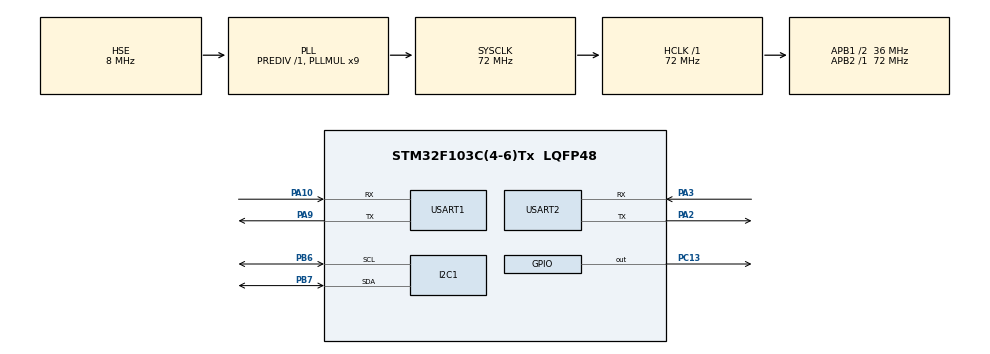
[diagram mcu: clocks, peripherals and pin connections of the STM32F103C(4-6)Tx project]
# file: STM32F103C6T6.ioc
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Dma.Request0=USART1_RX
Dma.Request1=USART1_TX
Dma.Request2=USART2_RX
Dma.Request3=USART2_TX
Dma.USART1_RX.0.Direction=DMA_PERIPH_TO_MEMORY
Dma.USART1_RX.0.Instance=DMA1_Channel5
Dma.USART1_RX.0.MemDataAlignment=DMA_MDATAALIGN_BYTE
Dma.USART1_RX.0.MemInc=DMA_MINC_ENABLE
Dma.USART1_RX.0.Mode=DMA_NORMAL
Dma.USART1_RX.0.PeriphDataAlignment=DMA_PDATAALIGN_BYTE
Dma.USART1_RX.0.PeriphInc=DMA_PINC_DISABLE
Dma.USART1_RX.0.Priority=DMA_PRIORITY_LOW
Dma.USART1_TX.1.Direction=DMA_MEMORY_TO_PERIPH
Dma.USART1_TX.1.Instance=DMA1_Channel4
Dma.USART1_TX.1.MemDataAlignment=DMA_MDATAALIGN_BYTE
Dma.USART1_TX.1.MemInc=DMA_MINC_ENABLE
Dma.USART1_TX.1.Mode=DMA_NORMAL
Dma.USART1_TX.1.PeriphDataAlignment=DMA_PDATAALIGN_BYTE
Dma.USART1_TX.1.PeriphInc=DMA_PINC_DISABLE
Dma.USART1_TX.1.Priority=DMA_PRIORITY_LOW
Dma.USART2_RX.2.Direction=DMA_PERIPH_TO_MEMORY
Dma.USART2_RX.2.Instance=DMA1_Channel6
Dma.USART2_RX.2.MemDataAlignment=DMA_MDATAALIGN_BYTE
Dma.USART2_RX.2.MemInc=DMA_MINC_ENABLE
Dma.USART2_RX.2.Mode=DMA_NORMAL
Dma.USART2_RX.2.PeriphDataAlignment=DMA_PDATAALIGN_BYTE
Dma.USART2_RX.2.PeriphInc=DMA_PINC_DISABLE
Dma.USART2_RX.2.Priority=DMA_PRIORITY_LOW
Dma.USART2_TX.3.Direction=DMA_MEMORY_TO_PERIPH
Dma.USART2_TX.3.Instance=DMA1_Channel7
Dma.USART2_TX.3.MemDataAlignment=DMA_MDATAALIGN_BYTE
Dma.USART2_TX.3.MemInc=DMA_MINC_ENABLE
Dma.USART2_TX.3.Mode=DMA_NORMAL
Dma.USART2_TX.3.PeriphDataAlignment=DMA_PDATAALIGN_BYTE
Dma.USART2_TX.3.PeriphInc=DMA_PINC_DISABLE
Dma.USART2_TX.3.Priority=DMA_PRIORITY_LOW
Mcu.Family=STM32F1
Mcu.Name=STM32F103C(4-6)Tx
Mcu.Package=LQFP48
NVIC.DMA1_Channel4_IRQn=true\:0\:0\:false\:false\:true\:false\:true\:true
NVIC.DMA1_Channel5_IRQn=true\:0\:0\:false\:false\:true\:false\:true\:true
NVIC.DMA1_Channel6_IRQn=true\:0\:0\:false\:false\:true\:false\:true\:true
NVIC.DMA1_Channel7_IRQn=true\:0\:0\:false\:false\:true\:false\:true\:true
NVIC.PriorityGroup=NVIC_PRIORITYGROUP_4
NVIC.USART1_IRQn=true\:0\:0\:false\:false\:true\:true\:true\:true
NVIC.USART2_IRQn=true\:0\:0\:false\:false\:true\:true\:true\:true
PA10.Mode=Asynchronous
PA10.Signal=USART1_RX
PA13.Mode=Serial_Wire
PA13.Signal=SYS_JTMS-SWDIO
PA14.Mode=Serial_Wire
PA14.Signal=SYS_JTCK-SWCLK
PA2.Mode=Asynchronous
PA2.Signal=USART2_TX
PA3.Mode=Asynchronous
PA3.Signal=USART2_RX
PA9.Mode=Asynchronous
PA9.Signal=USART1_TX
PB6.Mode=I2C
PB6.Signal=I2C1_SCL
PB7.Mode=I2C
PB7.Signal=I2C1_SDA
PC13-TAMPER-RTC.Signal=GPIO_Output
PD0-OSC_IN.Mode=HSE-External-Oscillator
PD0-OSC_IN.Signal=RCC_OSC_IN
PD1-OSC_OUT.Mode=HSE-External-Oscillator
PD1-OSC_OUT.Signal=RCC_OSC_OUT
ProjectManager.HeapSize=0x200
ProjectManager.StackSize=0x400
ProjectManager.TargetToolchain=MDK-ARM V5.32
RCC.AHBFreq_Value=72000000
RCC.APB1CLKDivider=RCC_HCLK_DIV2
RCC.APB1Freq_Value=36000000
RCC.APB1TimFreq_Value=72000000
RCC.APB2Freq_Value=72000000
RCC.APB2TimFreq_Value=72000000
RCC.HCLKFreq_Value=72000000
RCC.PLLMUL=RCC_PLL_MUL9
RCC.PLLSourceVirtual=RCC_PLLSOURCE_HSE
RCC.SYSCLKFreq_VALUE=72000000
RCC.SYSCLKSource=RCC_SYSCLKSOURCE_PLLCLK
RCC.USBFreq_Value=72000000
USART1.VirtualMode=VM_ASYNC
USART2.VirtualMode=VM_ASYNC
board=custom

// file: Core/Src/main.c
/* USER CODE BEGIN Header */
/**
  ******************************************************************************
  * @file           : main.c
  * @brief          : Main program body
  ******************************************************************************
  * @attention
  *
  * Copyright (c) 2024 STMicroelectronics.
  * All rights reserved.
  *
  * This software is licensed under terms that can be found in the LICENSE file
  * in the root directory of this software component.
  * If no LICENSE file comes with this software, it is provided AS-IS.
  *
  ******************************************************************************
  */
/* USER CODE END Header */
#include "main.h"
#include "dma.h"
#include "i2c.h"
#include "usart.h"
#include "gpio.h"

/* USER CODE BEGIN Includes */

#include "oled.h"
#include "stdio.h"
#include "string.h"

/* USER CODE END Includes */

void SystemClock_Config(void);

/* USER CODE BEGIN 0 */

uint64_t runtime;
char txbuff[10];
char rxbuff[20],flag=0;
char txlen=0,*txptr;
char rxlen=0,*rxptr;

char temp=43,humi=45,tutemp=34,hl=30;
char led1=1,pump1=1,hdift1=1,fan1=1,dpin1=1;

void putss(UART_HandleTypeDef huart, char ch[])
{
	txlen=strlen(ch);
	txptr=ch;
	HAL_UART_Transmit_DMA(&huart,(uint8_t *)txptr,txlen);
}

void getss(UART_HandleTypeDef huart, char ch[],unsigned char len)
{
	rxlen=len;
	rxptr=ch;
	HAL_UART_Receive_DMA(&huart,(uint8_t *)rxptr,rxlen);
}

void HAL_UART_RxCpltCallback(UART_HandleTypeDef *huart)
{
	if(huart->Instance==USART1)
	{
		flag=0x55;
	}
	if(huart->Instance==USART2)
	{
		flag=0x66;
	}
}

/* USER CODE END 0 */

int main(void)
{
  /* USER CODE BEGIN 1 */
	unsigned char i = 0;

  /* USER CODE END 1 */

  /* MCU Configuration--------------------------------------------------------*/

  /* Reset of all peripherals, Initializes the Flash interface and the Systick. */
  HAL_Init();

  /* Configure the system clock */
  SystemClock_Config();

  /* Initialize all configured peripherals */
  MX_GPIO_Init();
  MX_DMA_Init();
  MX_I2C1_Init();
  MX_USART1_UART_Init();
  MX_USART2_UART_Init();
  /* USER CODE BEGIN 2 */
	char s[]="hello,world3.\n\r";

	putss(huart2,s);
	putss(huart2,s);
	putss(huart2,s);
	OLED_Init();
	OLED_Clear();

	OLED_P6x8Str(5, 2,"temp:");
	OLED_P6x8Str(60,2,"humi:");
	OLED_P6x8Str(5, 3,"tutemp:");
	OLED_P6x8Str(60,3,"hl:");
	OLED_P6x8Str(5, 4,"led1:");
	OLED_P6x8Str(60,4,"pump1:");
	OLED_P6x8Str(5, 5,"hdift1:");
	OLED_P6x8Str(60,5,"fan1:");
	OLED_P6x8Str(5, 6,"dpin1:");

  /* USER CODE END 2 */

  /* Infinite loop */
  /* USER CODE BEGIN WHILE */
  while (1)
  {
		txbuff[0]=temp;
		txbuff[1]=humi;
		txbuff[2]=tutemp;
		txbuff[3]=hl;
		txbuff[4]=led1;
		txbuff[5]=pump1;
		txbuff[6]=hdift1;
		txbuff[7]=fan1;
		txbuff[8]=dpin1;
		//测试下改变数值是否会影响另一方
//		wd++;
//		if(wd==99)
//			wd=0;
		//测试下改变数值是否会影响另一方
		putss(huart2,txbuff);
		getss(huart2,rxbuff,9);

		HAL_GPIO_WritePin(GPIOC,GPIO_PIN_13, GPIO_PIN_RESET);
		HAL_Delay(1000);
		runtime++;
		OLED_time(70, 0);
		HAL_GPIO_WritePin(GPIOC,GPIO_PIN_13, GPIO_PIN_SET);

		if(flag==0x66)
		{
			temp=rxbuff[0];
			humi=rxbuff[1];
			tutemp=rxbuff[2];
			hl=rxbuff[3];
			led1=rxbuff[4];
			pump1=rxbuff[5];
			hdift1=rxbuff[6];
			fan1=rxbuff[7];
			dpin1=rxbuff[8];

			putss(huart1,"data is received.\r");
			putss(huart1,rxbuff);
			putss(huart1,"\r");
			flag=0x00;
		}
		OLED_int(30, 2, temp);
		OLED_int(90, 2, humi);
		OLED_int(30, 3, tutemp);
		OLED_int(90, 3, hl);
		OLED_int(30, 4, led1);
		OLED_int(90, 4, pump1);
		OLED_int(30, 5, hdift1);
		OLED_int(90, 5, fan1);
		OLED_int(30, 6, dpin1);

    /* USER CODE END WHILE */

  }
}

void SystemClock_Config(void)
{
  RCC_OscInitTypeDef RCC_OscInitStruct = {0};
  RCC_ClkInitTypeDef RCC_ClkInitStruct = {0};

  /** Initializes the RCC Oscillators according to the specified parameters
  * in the RCC_OscInitTypeDef structure.
  */
  RCC_OscInitStruct.OscillatorType = RCC_OSCILLATORTYPE_HSE;
  RCC_OscInitStruct.HSEState = RCC_HSE_ON;
  RCC_OscInitStruct.HSEPredivValue = RCC_HSE_PREDIV_DIV1;
  RCC_OscInitStruct.HSIState = RCC_HSI_ON;
  RCC_OscInitStruct.PLL.PLLState = RCC_PLL_ON;
  RCC_OscInitStruct.PLL.PLLSource = RCC_PLLSOURCE_HSE;
  RCC_OscInitStruct.PLL.PLLMUL = RCC_PLL_MUL9;
  if (HAL_RCC_OscConfig(&RCC_OscInitStruct) != HAL_OK)
  {
    Error_Handler();
  }

  /** Initializes the CPU, AHB and APB buses clocks
  */
  RCC_ClkInitStruct.ClockType = RCC_CLOCKTYPE_HCLK|RCC_CLOCKTYPE_SYSCLK
                              |RCC_CLOCKTYPE_PCLK1|RCC_CLOCKTYPE_PCLK2;
  RCC_ClkInitStruct.SYSCLKSource = RCC_SYSCLKSOURCE_PLLCLK;
  RCC_ClkInitStruct.AHBCLKDivider = RCC_SYSCLK_DIV1;
  RCC_ClkInitStruct.APB1CLKDivider = RCC_HCLK_DIV2;
  RCC_ClkInitStruct.APB2CLKDivider = RCC_HCLK_DIV1;

  if (HAL_RCC_ClockConfig(&RCC_ClkInitStruct, FLASH_LATENCY_2) != HAL_OK)
  {
    Error_Handler();
  }
}

void Error_Handler(void)
{
  __disable_irq();
  while (1)
  {
  }
}
